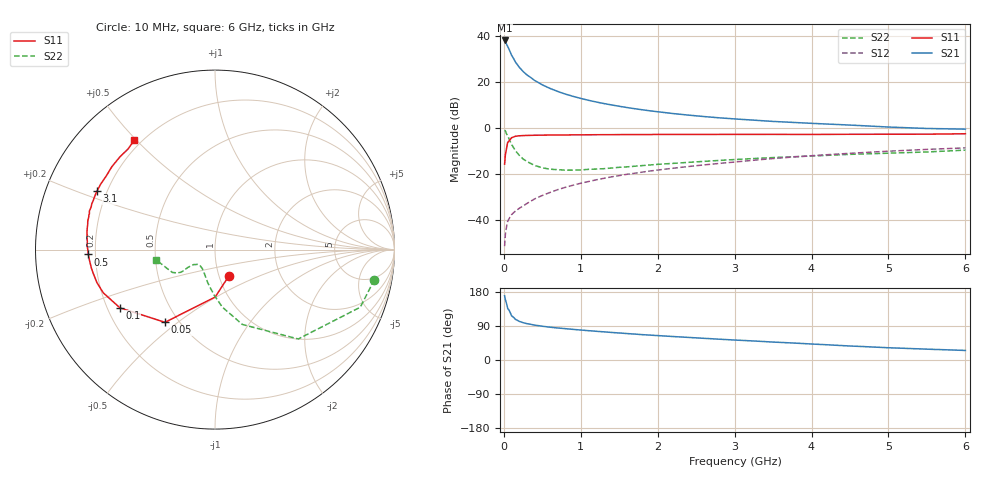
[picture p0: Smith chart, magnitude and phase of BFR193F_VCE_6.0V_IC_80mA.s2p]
! (c) 2017  Infineon Technologies AG, Munich
! Infineon Technologies  Discrete & RF Semiconductors
! BFR193F
! VCE =  6.0 V,  IC =  80 mA
! Common Emitter S-Parameters:  Jan 2017
# GHz  S  MA  R  50
!  f  S11  S21  S12  S22
! GHz  MAG  ANG  MAG  ANG  MAG  ANG  MAG  ANG
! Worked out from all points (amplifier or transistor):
!   77 points, 10 MHz to 6 GHz, reference 50 ohm
!   highest |S21| = 38.2 dB at 10 MHz (marker M1)
!   |S21| within 3 dB of that: start of sweep to 55.99 MHz
!   unconditionally stable (mu >= 1): 633.6 MHz to 2.586 GHz
!   at 130 MHz: K = 0.58, MSG = 33.4 dB, |S12| = -36.7 dB
!   at 2.2 GHz: K = 1.02, MAG = 11.1 dB, |S12| = -17.4 dB
!   at 6 GHz: K = 0.86, MSG = 4.1 dB, |S12| = -8.6 dB
!   S11 on the Smith chart (normalised r, x): 10 MHz: 1.12, -0.33; 50 MHz: 0.42, -0.45; 100 MHz: 0.25, -0.27; 500 MHz: 0.17, -0.02; 3.1 GHz: 0.16, +0.23; 6 GHz: 0.17, +0.49
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0.01  0.1651 -61.7  81.36 169.4  0.0027 88.4  0.9034 -10.7
0.02  0.2643 -89.8  77.54 159.1  0.0049 76.7  0.8709 -21.6
0.05  0.4917 -124.5  60.45 136.2  0.0094 62.3  0.6808 -47.0
0.1  0.6211 -148.5  38.96 116.6  0.0131 53.7  0.4436 -70.0
0.15  0.6677 -158.9  27.71 107.5  0.0156 55.1  0.3233 -82.7
0.2  0.6832 -164.4  21.28 102.0  0.018 57.9  0.2581 -90.4
0.25  0.6908 -168.8  17.2 98.5  0.0203 60.0  0.2141 -97.1
0.3  0.6961 -171.3  14.46 95.9  0.0229 63.2  0.1882 -102.5
0.4  0.7022 -175.3  10.93 91.9  0.0288 67.2  0.1546 -110.9
0.5  0.7065 -177.8  8.786 89.1  0.0343 69.3  0.1375 -117.4
0.6  0.7089 179.9  7.352 86.6  0.0399 71.1  0.1281 -123.1
0.7  0.7135 178.0  6.319 84.5  0.0459 73.3  0.1249 -127.2
0.8  0.7126 176.5  5.53 82.7  0.0516 73.8  0.1223 -131.4
0.9  0.7158 174.8  4.935 80.8  0.0574 75.0  0.1222 -134.2
1.1  0.7193 172.4  4.052 77.4  0.069 75.3  0.1271 -138.3
1.3  0.7223 169.9  3.446 74.3  0.081 75.5  0.1314 -141.2
1.5  0.7252 167.9  3.003 71.3  0.0928 75.9  0.1407 -143.6
2.1  0.7308 162.0  2.182 63.2  0.1284 75.4  0.1673 -146.4
3.1  0.7336 153.7  1.553 51.7  0.1902 73.1  0.2119 -146.1
4.1  0.7324 144.8  1.254 41.2  0.2581 68.7  0.252 -149.0
5.1  0.7397 135.0  1.045 31.6  0.3215 62.9  0.2891 -159.3
6  0.7567 126.5  0.954 25.2  0.3728 57.3  0.3332 -169.8
